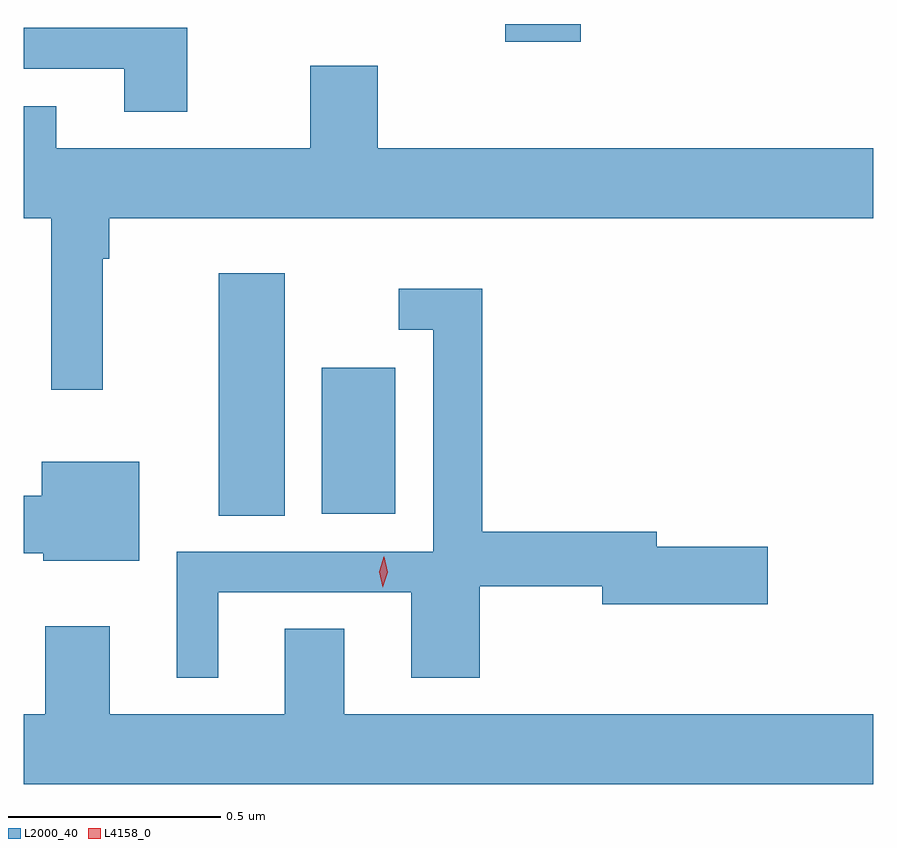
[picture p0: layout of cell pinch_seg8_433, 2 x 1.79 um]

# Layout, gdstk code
import gdstk
lib = gdstk.Library(unit=1e-6, precision=1e-09)
def R(c, l, rs):  # rectangles x0, y0, x1, y1
    for r in rs: c.add(gdstk.rectangle(r[:2], r[2:], *l))
def P(c, l, *ps):  # polygons
    for p in ps: c.add(gdstk.Polygon(p, *l))
L2000_40 = (2000, 40)
L4158_0 = (4158, 0)

pinch_seg8_433 = lib.new_cell('pinch_seg8_433')
R(pinch_seg8_433, L2000_40, [(277.883,1129.12,278.038,1129.69), (278.126,1129.124,278.299,1129.468), (278.557,1130.235,278.735,1130.277)])
P(pinch_seg8_433, L2000_40, [(277.809,1130.268),(277.424,1130.268),(277.424,1130.172),(277.661,1130.172),(277.661,1130.07),(277.809,1130.07)],
  [(277.501,1130.083),(277.424,1130.083),(277.424,1129.82),(277.489,1129.82),(277.489,1129.416),(277.61,1129.416),(277.61,1129.724),(277.625,1129.724),(277.625,1129.82),(279.424,1129.82),(279.424,1129.984),(278.258,1129.984),(278.258,1130.179),(278.098,1130.179),(278.098,1129.984),(277.501,1129.984)],
  [(277.882,1128.939),(278.336,1128.939),(278.336,1128.738),(278.498,1128.738),(278.498,1128.954),(278.786,1128.954),(278.786,1128.911),(279.175,1128.911),(279.175,1129.046),(278.914,1129.046),(278.914,1129.082),(278.504,1129.082),(278.504,1129.654),(278.307,1129.654),(278.307,1129.557),(278.388,1129.557),(278.388,1129.035),(277.784,1129.035),(277.784,1128.738),(277.882,1128.738)],
  [(277.696,1129.246),(277.466,1129.246),(277.466,1129.166),(277.424,1129.166),(277.424,1129.031),(277.47,1129.031),(277.47,1129.013),(277.696,1129.013)],
  [(279.424,1128.652),(278.179,1128.652),(278.179,1128.854),(278.039,1128.854),(278.039,1128.652),(277.627,1128.652),(277.627,1128.859),(277.475,1128.859),(277.475,1128.652),(277.424,1128.652),(277.424,1128.488),(279.424,1128.488)])
P(pinch_seg8_433, L4158_0, [(278.269,1128.951),(278.269,1128.951),(278.261,1128.988),(278.272,1129.023),(278.272,1129.023),(278.273,1129.023),(278.281,1128.987),(278.269,1128.951)])

lib.write_gds('pinch_seg8_433.gds')
